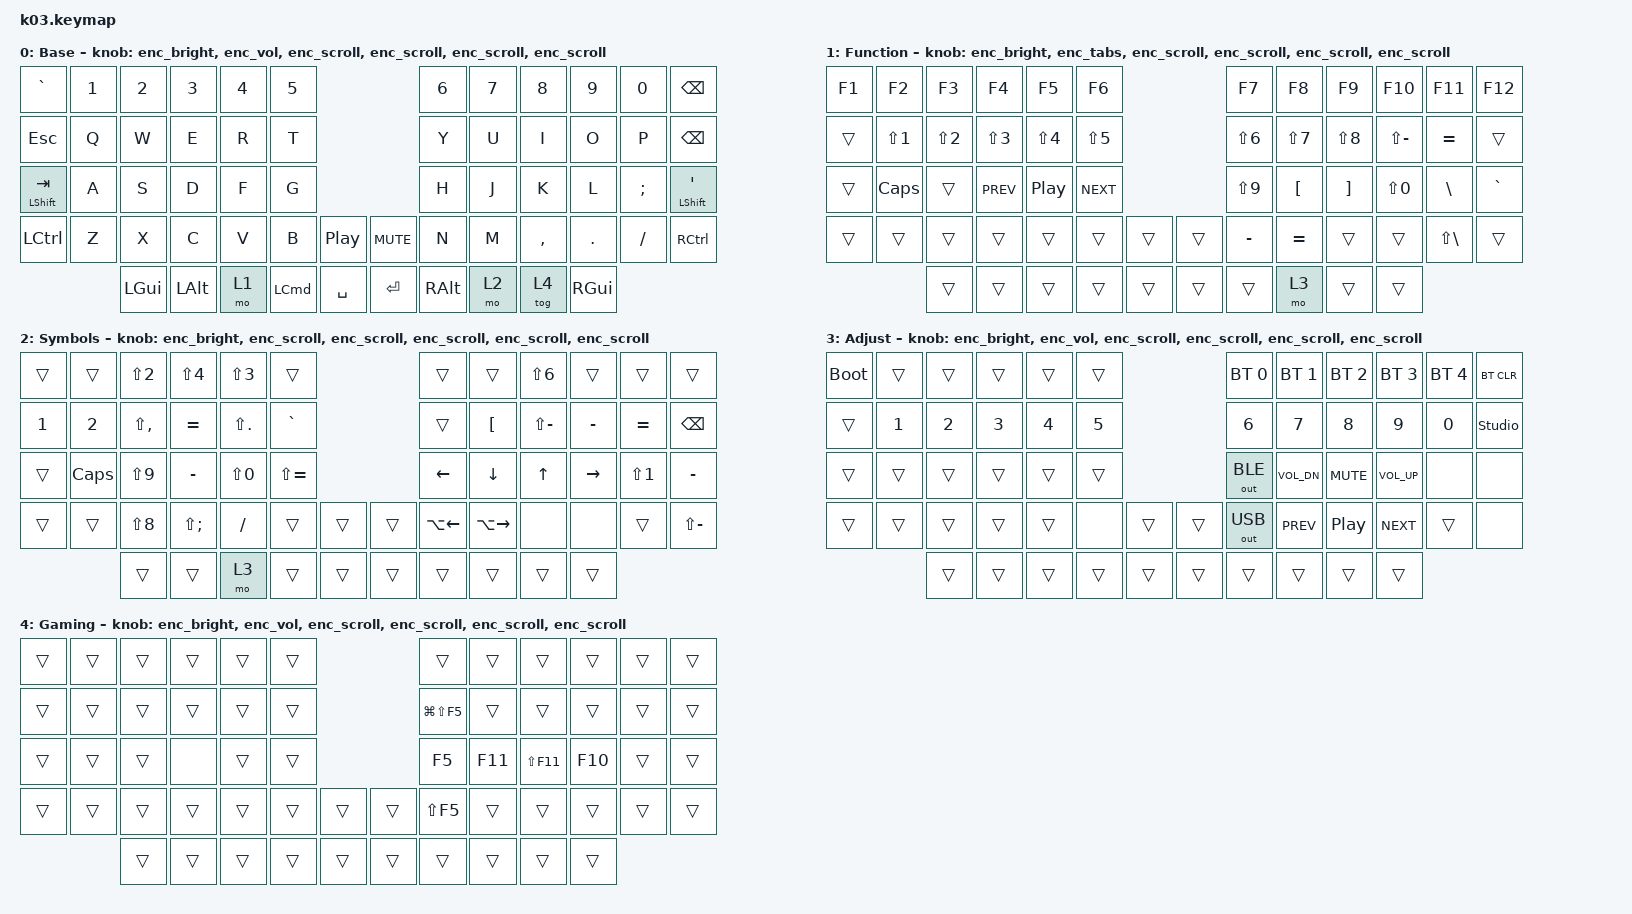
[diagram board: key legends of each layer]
#include "keys_ru.h"
#include <behaviors.dtsi>
#include <dt-bindings/zmk/bt.h>
#include <dt-bindings/zmk/keys.h>
#include <dt-bindings/zmk/outputs.h>

/ {
    behaviors {
        enc_vol: enc_vol {
            compatible = "zmk,behavior-sensor-rotate";
            label = "ENC_VOL";
            #sensor-binding-cells = <0>;
            bindings = <&kp C_VOL_UP>, <&kp C_VOL_DN>;
        };

        enc_bright: enc_bright {
            compatible = "zmk,behavior-sensor-rotate";
            label = "ENC_BRIGHT";
            #sensor-binding-cells = <0>;
            bindings = <&kp C_BRI_UP>, <&kp C_BRI_DN>;
        };

        enc_scroll: enc_scroll {
            compatible = "zmk,behavior-sensor-rotate";
            label = "ENC_SCROLL";
            #sensor-binding-cells = <0>;
            bindings = <&kp PG_UP>, <&kp PG_DN>;
        };

        enc_tabs: enc_tabs {
            compatible = "zmk,behavior-sensor-rotate";
            label = "ENC_TABS";
            #sensor-binding-cells = <0>;
            bindings = <&kp LC(TAB)>, <&kp LC(LS(TAB))>;
        };
    };

    keymap {
        compatible = "zmk,keymap";

        default_layer {
            bindings = <
&kp GRAVE      &kp N1  &kp N2    &kp N3    &kp N4  &kp N5                             &kp N6    &kp N7  &kp N8     &kp N9    &kp N0    &kp BSPC
&kp ESC        &kp Q   &kp W     &kp E     &kp R   &kp T                              &kp Y     &kp U   &kp I      &kp O     &kp P     &kp BSPC
&mt LSHFT TAB  &kp A   &kp S     &kp D     &kp F   &kp G                              &kp H     &kp J   &kp K      &kp L     &kp SEMI  &mt LSHFT SQT
&kp LCTRL      &kp Z   &kp X     &kp C     &kp V   &kp B     &kp C_PP     &kp C_MUTE  &kp N     &kp M   &kp COMMA  &kp DOT   &kp FSLH  &kp RCTRL
                       &kp LGUI  &kp LALT  &mo 1   &kp LCMD  &kp SPACE    &kp ENTER   &kp RALT  &mo 2   &tog 4     &kp RGUI
            >;

            display-name = "Base";
            sensor-bindings =
                <&enc_bright>,
                <&enc_vol>,
                <&enc_scroll>,
                <&enc_scroll>,
                <&enc_scroll>,
                <&enc_scroll>;
        };

        layer_1 {
            bindings = <
&kp F1  &kp F2      &kp F3      &kp F4      &kp F5      &kp F6                        &kp F7      &kp F8      &kp F9      &kp F10        &kp F11       &kp F12
&trans  &kp LS(N1)  &kp LS(N2)  &kp LS(N3)  &kp LS(N4)  &kp LS(N5)                    &kp LS(N6)  &kp LS(N7)  &kp LS(N8)  &kp LS(MINUS)  &kp EQUAL     &trans
&trans  &kp CAPS    &trans      &kp C_PREV  &kp C_PP    &kp C_NEXT                    &kp LS(N9)  &kp LBKT    &kp RBKT    &kp LS(N0)     &kp BSLH      &kp GRAVE
&trans  &trans      &trans      &trans      &trans      &trans      &trans    &trans  &kp MINUS   &kp EQUAL   &trans      &trans         &kp LS(BSLH)  &trans
                    &trans      &trans      &trans      &trans      &trans    &trans  &trans      &mo 3       &trans      &trans
            >;

            display-name = "Function";
            sensor-bindings =
                <&enc_bright>,
                <&enc_tabs>,
                <&enc_scroll>,
                <&enc_scroll>,
                <&enc_scroll>,
                <&enc_scroll>;
        };

        layer_2 {
            bindings = <
&trans  &trans    &kp LS(N2)     &kp LS(N4)    &kp LS(N3)   &trans                           &trans        &trans         &kp LS(N6)     &trans     &trans      &trans
&kp N1  &kp N2    &kp LS(COMMA)  &kp EQUAL     &kp LS(DOT)  &kp GRAVE                        &trans        &kp LBKT       &kp LS(MINUS)  &kp MINUS  &kp EQUAL   &kp BSPC
&trans  &kp CAPS  &kp LS(N9)     &kp MINUS     &kp LS(N0)   &kp LS(EQUAL)                    &kp LEFT      &kp DOWN       &kp UP         &kp RIGHT  &kp LS(N1)  &kp MINUS
&trans  &trans    &kp LS(N8)     &kp LS(SEMI)  &kp FSLH     &trans         &trans    &trans  &kp LA(LEFT)  &kp LA(RIGHT)  &none          &none      &trans      &kp LS(MINUS)
                  &trans         &trans        &mo 3        &trans         &trans    &trans  &trans        &trans         &trans         &trans
            >;

            display-name = "Symbols";
            sensor-bindings =
                <&enc_bright>,
                <&enc_scroll>,
                <&enc_scroll>,
                <&enc_scroll>,
                <&enc_scroll>,
                <&enc_scroll>;
        };

        layer_3 {
            bindings = <
&bootloader  &trans  &trans  &trans  &trans  &trans                    &bt BT_SEL 0  &bt BT_SEL 1  &bt BT_SEL 2  &bt BT_SEL 3  &bt BT_SEL 4  &bt BT_CLR
&trans       &kp N1  &kp N2  &kp N3  &kp N4  &kp N5                    &kp N6        &kp N7        &kp N8        &kp N9        &kp N0        &studio_unlock
&trans       &trans  &trans  &trans  &trans  &trans                    &out OUT_BLE  &kp C_VOL_DN  &kp C_MUTE    &kp C_VOL_UP  &none         &none
&trans       &trans  &trans  &trans  &trans  &none   &trans    &trans  &out OUT_USB  &kp C_PREV    &kp C_PP      &kp C_NEXT    &trans        &none
                     &trans  &trans  &trans  &trans  &trans    &trans  &trans        &trans        &trans        &trans
            >;

            display-name = "Adjust";
            sensor-bindings =
                <&enc_bright>,
                <&enc_vol>,
                <&enc_scroll>,
                <&enc_scroll>,
                <&enc_scroll>,
                <&enc_scroll>;
        };

        layer_4 {
            bindings = <
&trans  &trans  &trans  &trans  &trans  &trans                    &trans          &trans   &trans       &trans   &trans  &trans
&trans  &trans  &trans  &trans  &trans  &trans                    &kp LG(LS(F5))  &trans   &trans       &trans   &trans  &trans
&trans  &trans  &trans  &none   &trans  &trans                    &kp F5          &kp F11  &kp LS(F11)  &kp F10  &trans  &trans
&trans  &trans  &trans  &trans  &trans  &trans  &trans    &trans  &kp LS(F5)      &trans   &trans       &trans   &trans  &trans
                &trans  &trans  &trans  &trans  &trans    &trans  &trans          &trans   &trans       &trans
            >;

            display-name = "Gaming";
            sensor-bindings =
                <&enc_bright>,
                <&enc_vol>,
                <&enc_scroll>,
                <&enc_scroll>,
                <&enc_scroll>,
                <&enc_scroll>;
        };
    };
};
